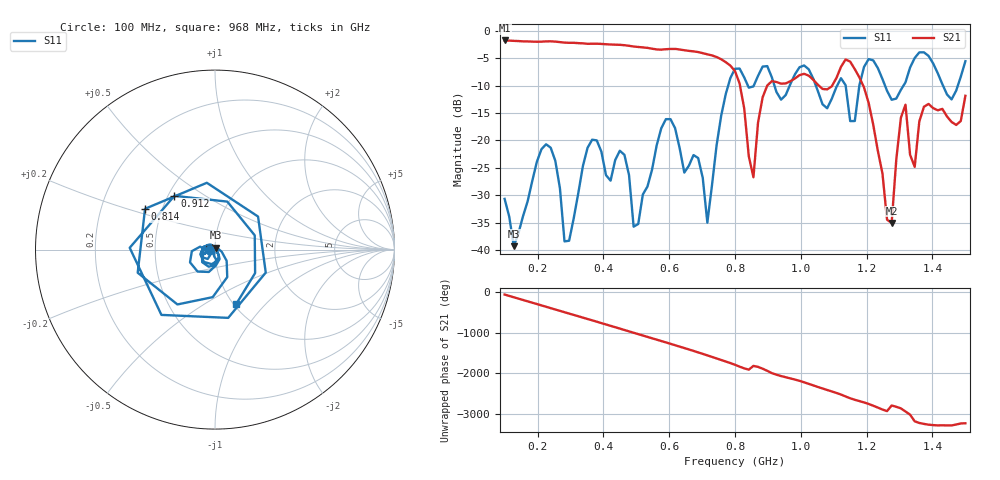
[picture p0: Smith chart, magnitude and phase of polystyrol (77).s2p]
! NanoVNA-App
! Date: 2025-09-26 09:42:29
! Start: 100MHz Stop: 1,5GHz Points: 101
! S-Parameter data: F S11 S21 S12 S22
# Hz S RI R 50
!  Frequency  S11_Real  S11_Imag  S21_Real  S21_Imag  S12_Real  S12_Imag  S22_Real  S22_Imag
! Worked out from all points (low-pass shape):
!   101 points, 100 MHz to 1.5 GHz, reference 50 ohm
!   highest |S21| = -1.79 dB at 100 MHz (marker M1); lowest = -35.0 dB at 1.276 GHz (marker M2)
!   |S21| within 3 dB of the highest: start of sweep to 743.5 MHz
!   lowest |S11| = -39.3 dB at 128 MHz (marker M3), VSWR 1.02, Z = 50.3 + j1.06 ohm
!   |S11| at or under -10 dB: start of sweep to 779.4 MHz; 1.046 GHz to 1.11 GHz (64.96 MHz wide, 6.03 % of centre); 1.256 GHz to 1.312 GHz (56.36 MHz wide, 4.39 % of centre) (the widest 3 of 7)
!   S12 and S22 are empty: the file has one direction only
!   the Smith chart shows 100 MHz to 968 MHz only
!   S11 on the Smith chart (normalised r, x): 100 MHz: 0.94, -0.01; 814 MHz: 0.40, +0.23; 912 MHz: 0.54, +0.38; 968 MHz: 1.03, -0.70
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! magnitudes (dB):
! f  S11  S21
! 100 MHz  -30.7  -1.8
! 128 MHz  -39.3  -1.9
! 212 MHz  -21.6  -2.0
! 282 MHz  -38.4  -2.2
! 338 MHz  -24.6  -2.3
! 464 MHz  -22.6  -2.7
! 492 MHz  -35.7  -2.9
! 576 MHz  -17.8  -3.5
! 688 MHz  -23.2  -3.9
! 716 MHz  -35.0  -4.3
! 800 MHz  -6.9  -7.4
! 814 MHz  -6.9  -9.6
! 856 MHz  -10.2  -26.7
! 912 MHz  -8.5  -9.2
! 968 MHz  -9.8  -9.2
! 1.038 GHz  -8.8  -9.0
! 1.178 GHz  -9.9  -8.5
! 1.276 GHz  -12.6  -35.0
! 1.318 GHz  -9.4  -13.5
! 1.346 GHz  -5.0  -24.8
! 1.374 GHz  -3.9  -13.9
! 1.5 GHz  -5.6  -11.9
